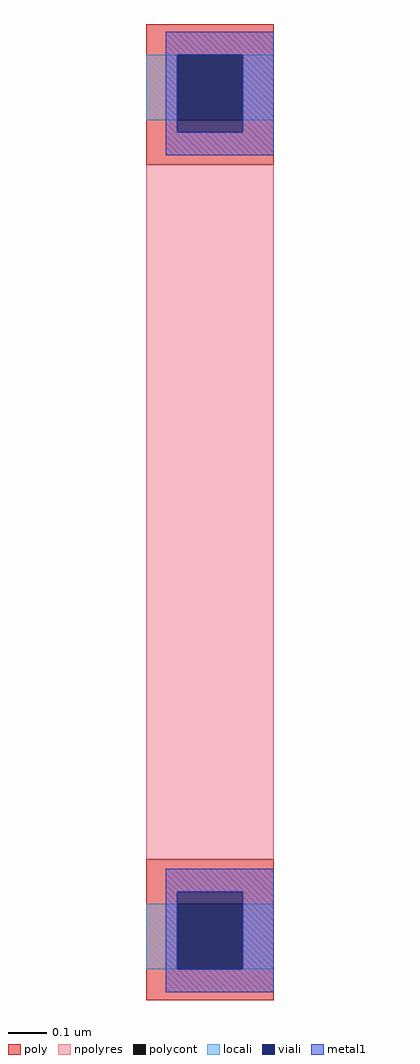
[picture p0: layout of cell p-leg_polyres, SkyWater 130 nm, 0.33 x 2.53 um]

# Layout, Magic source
magic
tech sky130A
magscale 1 2
<< poly >>
rect -33 237 33 253
rect -33 203 -17 237
rect 17 203 33 237
rect -33 180 33 203
rect -33 -203 33 -180
rect -33 -237 -17 -203
rect 17 -237 33 -203
rect -33 -253 33 -237
<< polycont >>
rect -17 203 17 237
rect -17 -237 17 -203
<< npolyres >>
rect -33 -180 33 180
<< locali >>
rect -33 203 -17 237
rect 17 203 33 237
rect -33 -237 -17 -203
rect 17 -237 33 -203
<< viali >>
rect -17 203 17 237
rect -17 197 17 203
rect -17 -203 17 -197
rect -17 -237 17 -203
<< metal1 >>
rect -23 237 33 249
rect -23 197 -17 237
rect 17 197 33 237
rect -23 185 33 197
rect -23 -197 33 -185
rect -23 -237 -17 -197
rect 17 -237 33 -197
rect -23 -249 33 -237
<< properties >>
string gencell sky130_fd_pr__res_generic_po
string parameters w 0.330 l 1.8 m 1 nx 1 wmin 0.330 lmin 1.650 rho 48.2 val 262.909 dummy 0 dw 0.0 term 0.0 sterm 0.0 caplen 0.4 snake 0 guard 0 glc 0 grc 0 gtc 0 gbc 0 roverlap 0 endcov 100 full_metal 0 hv_guard 0 n_guard 0 vias 1 viagb 0 viagt 0 viagl 0 viagr 0
string library sky130
<< end >>
